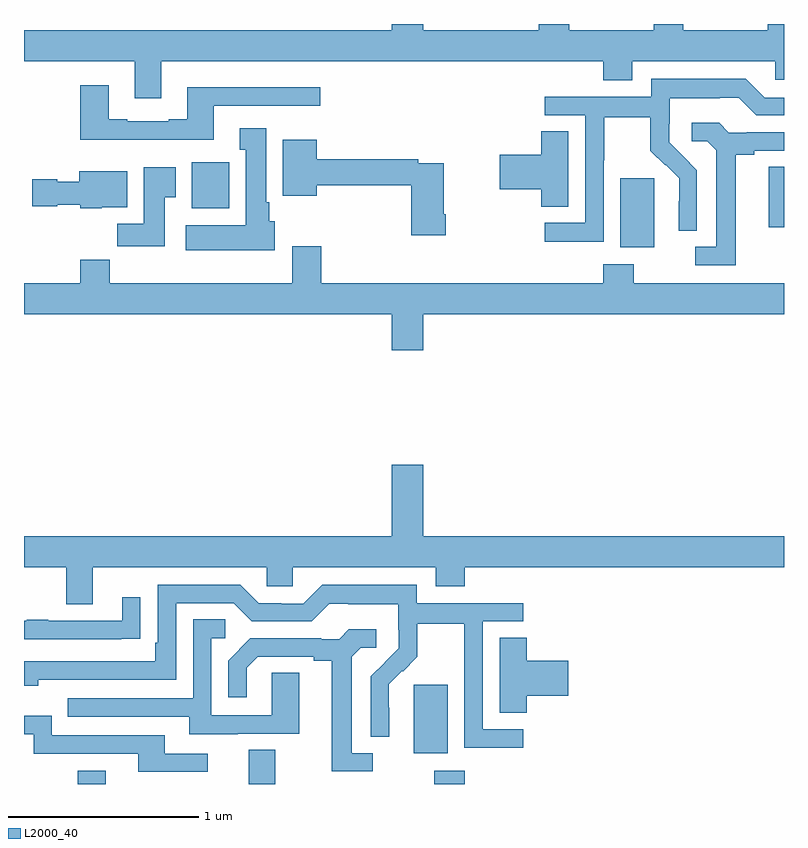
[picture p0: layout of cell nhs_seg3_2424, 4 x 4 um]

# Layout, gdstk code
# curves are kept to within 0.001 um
import gdstk
lib = gdstk.Library(unit=1e-6, precision=1e-09)
def R(c, l, rs):  # rectangles x0, y0, x1, y1
    for r in rs: c.add(gdstk.rectangle(r[:2], r[2:], *l))
def P(c, l, *ps):  # polygons
    for p in ps: c.add(gdstk.Polygon(p, *l))
L2000_40 = (2000, 40)

nhs_seg3_2424 = lib.new_cell('nhs_seg3_2424')
R(nhs_seg3_2424, L2000_40, [(235.282,742.4,235.429,742.471), (236.183,742.4,236.323,742.58), (237.16,742.4,237.32,742.471), (237.05,742.562,237.229,742.923), (238.139,745.226,238.318,745.587), (238.919,745.329,239,745.649), (235.883,745.43,236.08,745.672)])
P(nhs_seg3_2424, L2000_40, [(238.953,746.106),(239,746.106),(239,746.4),(238.915,746.4),(238.915,746.368),(238.47,746.368),(238.47,746.4),(238.315,746.4),(238.315,746.368),(237.87,746.368),(237.87,746.4),(237.71,746.4),(237.71,746.368),(237.1,746.368),(237.1,746.4),(236.936,746.4),(236.936,746.368),(235,746.368),(235,746.204),(235.583,746.204),(235.583,746.01),(235.723,746.01),(235.723,746.204),(238.049,746.204),(238.049,746.105),(238.201,746.105),(238.201,746.204),(238.953,746.204)],
  [(238.05,745.684),(238.053,745.684),(238.053,745.908),(238.297,745.908),(238.297,745.733),(238.374,745.656),(238.377,745.659),(238.448,745.589),(238.448,745.466),(238.446,745.466),(238.446,745.312),(238.542,745.312),(238.542,745.63),(238.396,745.778),(238.396,745.875),(238.398,745.875),(238.398,746.009),(238.661,746.009),(238.661,746.013),(238.761,746.013),(238.854,745.92),(239,745.92),(239,746.013),(238.899,746.013),(238.799,746.113),(238.302,746.113),(238.302,746.016),(237.741,746.016),(237.741,745.92),(237.954,745.92),(237.954,745.353),(237.741,745.353),(237.741,745.255),(238.05,745.255)],
  [(235.999,745.971),(236.56,745.971),(236.56,746.068),(235.859,746.068),(235.859,745.9),(235.763,745.9),(235.763,745.887),(235.543,745.887),(235.543,745.9),(235.447,745.9),(235.447,746.077),(235.295,746.077),(235.295,745.79),(235.999,745.79)],
  [(238.747,745.712),(238.843,745.712),(238.843,745.734),(239,745.734),(239,745.83),(238.804,745.83),(238.804,745.827),(238.71,745.827),(238.658,745.879),(238.515,745.879),(238.515,745.782),(238.596,745.782),(238.643,745.735),(238.643,745.227),(238.533,745.227),(238.533,745.131),(238.747,745.131)],
  [(236.32,745.362),(236.29,745.362),(236.29,745.462),(236.275,745.462),(236.275,745.852),(236.135,745.852),(236.135,745.739),(236.168,745.739),(236.168,745.342),(235.851,745.342),(235.851,745.208),(236.32,745.208)],
  [(237.865,745.835),(237.722,745.835),(237.722,745.712),(237.504,745.712),(237.504,745.529),(237.722,745.529),(237.722,745.438),(237.865,745.438)],
  [(237.221,745.399),(237.208,745.399),(237.208,745.668),(237.074,745.668),(237.074,745.688),(236.542,745.688),(236.542,745.792),(236.363,745.792),(236.363,745.496),(236.542,745.496),(236.542,745.552),(237.038,745.552),(237.038,745.287),(237.221,745.287)],
  [(235.741,745.489),(235.798,745.489),(235.798,745.645),(235.631,745.645),(235.631,745.348),(235.492,745.348),(235.492,745.23),(235.741,745.23)],
  [(235.41,745.436),(235.543,745.436),(235.543,745.624),(235.292,745.624),(235.292,745.57),(235.176,745.57),(235.176,745.583),(235.044,745.583),(235.044,745.441),(235.176,745.441),(235.176,745.448),(235.296,745.448),(235.296,745.43),(235.41,745.43)],
  [(237.1,744.872),(239,744.872),(239,745.036),(238.209,745.036),(238.209,745.135),(238.049,745.135),(238.049,745.036),(236.564,745.036),(236.564,745.231),(236.411,745.231),(236.411,745.036),(235.451,745.036),(235.451,745.16),(235.295,745.16),(235.295,745.036),(235,745.036),(235,744.872),(236.936,744.872),(236.936,744.684),(237.1,744.684)],
  [(235.363,743.54),(236.277,743.54),(236.277,743.442),(236.415,743.442),(236.415,743.54),(237.167,743.54),(237.167,743.441),(237.32,743.441),(237.32,743.54),(239,743.54),(239,743.704),(237.1,743.704),(237.1,744.079),(236.936,744.079),(236.936,743.704),(235,743.704),(235,743.54),(235.223,743.54),(235.223,743.346),(235.363,743.346)],
  [(237.628,742.689),(237.414,742.689),(237.414,743.256),(237.628,743.256),(237.628,743.352),(237.066,743.352),(237.066,743.449),(236.569,743.449),(236.469,743.349),(236.354,743.349),(236.354,743.352),(236.235,743.352),(236.139,743.448),(235.704,743.448),(235.704,743.143),(235.691,743.143),(235.691,743.046),(235,743.046),(235,742.916),(235.076,742.916),(235.076,742.95),(235.8,742.95),(235.8,743.352),(236.103,743.352),(236.199,743.256),(236.514,743.256),(236.607,743.349),(236.707,743.349),(236.707,743.345),(236.97,743.345),(236.97,743.211),(236.972,743.211),(236.972,743.114),(236.826,742.966),(236.826,742.648),(236.922,742.648),(236.921,742.925),(236.991,742.995),(236.994,742.992),(237.071,743.069),(237.071,743.244),(237.316,743.244),(237.316,743.02),(237.318,743.02),(237.318,742.591),(237.628,742.591)],
  [(235.511,743.164),(235.613,743.164),(235.613,743.383),(235.517,743.383),(235.517,743.259),(235.127,743.259),(235.127,743.264),(235.015,743.264),(235.015,743.259),(235,743.259),(235,743.163),(235.511,743.163)],
  [(236.125,742.665),(236.449,742.665),(236.449,742.985),(236.304,742.985),(236.304,742.761),(235.986,742.761),(235.986,743.166),(236.059,743.166),(236.059,743.267),(235.89,743.267),(235.89,742.851),(235.231,742.851),(235.231,742.755),(235.871,742.755),(235.871,742.661),(236.125,742.661)],
  [(236.836,742.563),(236.725,742.563),(236.725,743.071),(236.772,743.118),(236.854,743.118),(236.854,743.215),(236.71,743.215),(236.658,743.163),(236.564,743.163),(236.564,743.166),(236.192,743.166),(236.076,743.05),(236.076,742.857),(236.173,742.857),(236.173,743.013),(236.23,743.07),(236.525,743.07),(236.525,743.048),(236.621,743.048),(236.621,742.467),(236.836,742.467)],
  [(237.647,742.865),(237.865,742.865),(237.865,743.048),(237.647,743.048),(237.647,743.171),(237.503,743.171),(237.503,742.774),(237.647,742.774)],
  [(235.966,742.56),(235.741,742.56),(235.741,742.656),(235.146,742.656),(235.146,742.759),(235,742.759),(235,742.662),(235.05,742.662),(235.05,742.56),(235.601,742.56),(235.601,742.464),(235.966,742.464)])

lib.write_gds('nhs_seg3_2424.gds')
